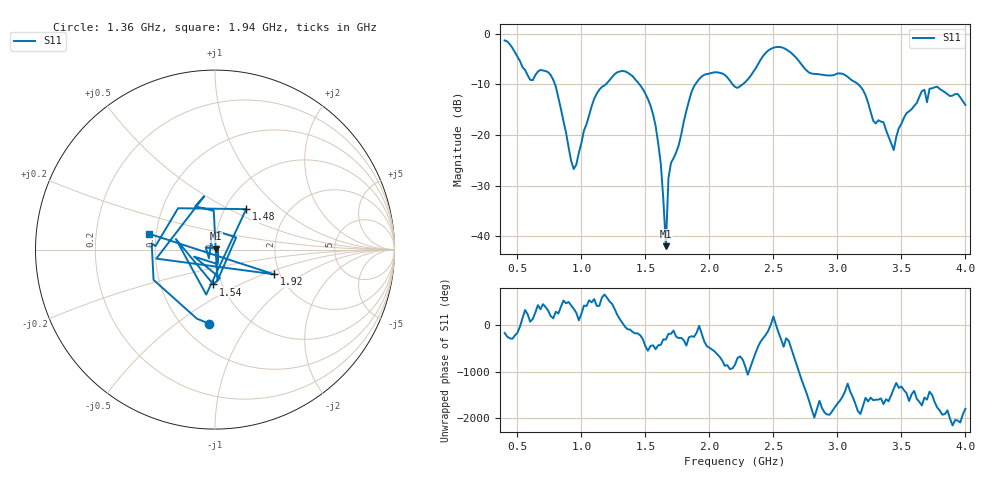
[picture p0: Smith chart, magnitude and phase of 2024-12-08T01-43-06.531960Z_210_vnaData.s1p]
!Created with skrf (http://scikit-rf.org).
# Hz S RI R 50.0
!freq ReS11 ImS11
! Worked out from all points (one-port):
!   181 points, 400 MHz to 4 GHz, reference 50 ohm
!   lowest |S11| = -42.0 dB at 1.66 GHz (marker M1), VSWR 1.02, Z = 50.6 + j0.551 ohm
!   |S11| at or under -10 dB: 793.6 MHz to 1.189 GHz (395.9 MHz wide, 39.9 % of centre); 1.454 GHz to 1.89 GHz (436.2 MHz wide, 26.1 % of centre); 3.164 GHz to end of sweep (the widest 3 of 4)
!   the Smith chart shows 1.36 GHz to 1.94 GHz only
!   S11 on the Smith chart (normalised r, x): 1.36 GHz: 0.67, -0.67; 1.48 GHz: 1.25, +0.61; 1.54 GHz: 0.91, -0.37; 1.92 GHz: 1.86, -0.59; 1.94 GHz: 0.46, +0.09
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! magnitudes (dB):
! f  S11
! 400 MHz  -1.3
! 600 MHz  -9.1
! 760 MHz  -8.2
! 860 MHz  -17.3
! 940 MHz  -26.7
! 1.1 GHz  -12.8
! 1.3 GHz  -7.4
! 1.36 GHz  -7.7
! 1.48 GHz  -10.9
! 1.54 GHz  -14.2
! 1.62 GHz  -25.6
! 1.66 GHz  -42.0
! 1.68 GHz  -28.5
! 1.76 GHz  -22.0
! 1.86 GHz  -11.5
! 1.92 GHz  -9.0
! 1.94 GHz  -8.4
! 2.2 GHz  -10.5
! 2.48 GHz  -3.0
! 2.66 GHz  -4.3
! 3.1 GHz  -8.9
! 3.2 GHz  -11.1
! 3.28 GHz  -17.2
! 3.36 GHz  -17.5
! 3.44 GHz  -23.0
! 3.56 GHz  -15.3
! 3.78 GHz  -10.5
! 4 GHz  -14.1
